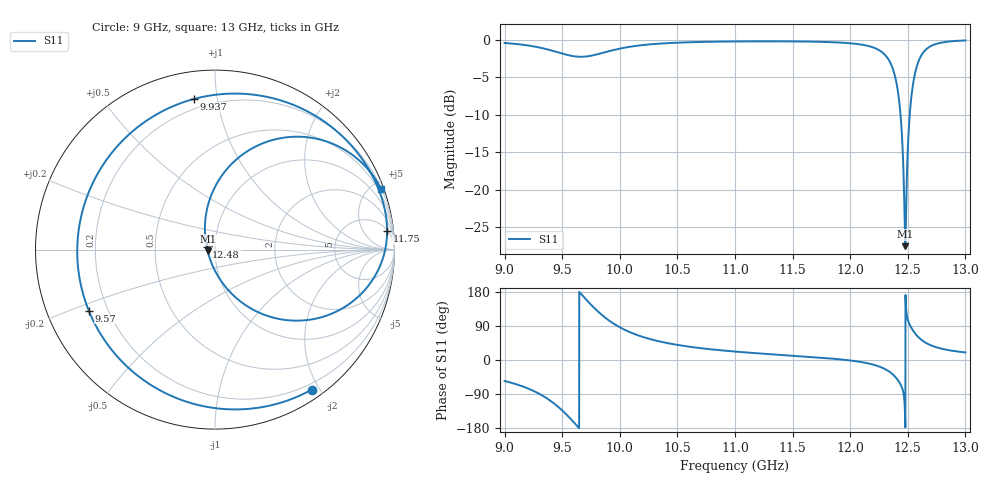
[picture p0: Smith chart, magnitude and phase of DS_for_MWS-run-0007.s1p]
! TOUCHSTONE file generated by CST DESIGN STUDIO
! Date and time: Tue Feb  4 17:24:13 2025
! Project name: C:\Work\MatlabApps\UnitCellOptimizationMatlab\CST\unitcell.cst
! Tree item: Tasks\Sweep1\SPara1\S-Parameters
! Header version: 2024
! Port assignment regex: !\s*Touchstone port\s*([0-9]+)\s*=\s*(CST MWS port|CST DES external port|CST DES block port)\s*(.+)\s* \(\"(.*)\"\)(\s*mode\s*([0-9]+))?.*
! Touchstone port assignment:
! Touchstone port 1 = CST DES external port 1 ("")
# GHz S MA R 50
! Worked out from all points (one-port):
!   4001 points, 9 GHz to 13 GHz, reference 50 ohm
!   lowest |S11| = -27.5 dB at 12.48 GHz (marker M1), VSWR 1.09, Z = 46.1 - j0.91 ohm
!   |S11| at or under -10 dB: 12.44 GHz to 12.52 GHz (80.34 MHz wide, 0.644 % of centre)
!   S11 on the Smith chart (normalised r, x): 9 GHz: 0.12, -1.90; 9.57 GHz: 0.13, -0.22; 9.937 GHz: 0.14, +0.86; 11.75 GHz: 6, +17; 12.48 GHz: 0.91, +0.03; 13 GHz: 0.24, +5.66
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9  0.9479 -55.4
9.16  0.9223 -70.1
9.312  0.8811 -91.1
9.5  0.806 -133.1
9.57  0.7811 -154.2
9.717  0.7722 156.5
9.826  0.8049 123.7
9.937  0.8476 97.8
10  0.8694 86.3
10.22  0.9218 58.9
10.5  0.9525 39.8
11  0.9705 22.3
11.5  0.9711 11.4
11.748  0.9645 6.1
12  0.9438 -1.2
12.238  0.86 -15.7
12.367  0.6477 -37.3
12.428  0.3717 -59.6
12.446  0.2527 -70.3
12.466  0.1057 -93.4
12.478  0.04198 -166.4
12.481  0.04896 161.8
12.5  0.1859 106.4
12.516  0.3085 93.5
12.538  0.459 81.2
12.608  0.7596 55.8
12.748  0.9353 33.6
13  0.9855 20.0
